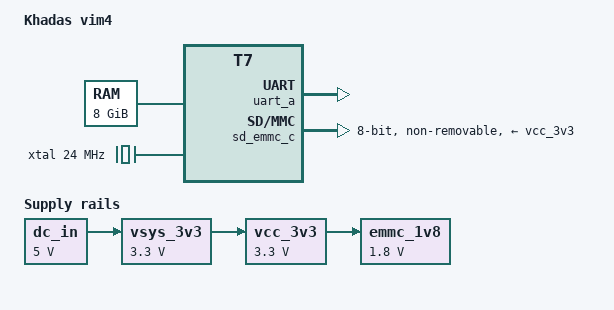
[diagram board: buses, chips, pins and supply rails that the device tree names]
// SPDX-License-Identifier: (GPL-2.0+ OR MIT)
/*
 * Copyright (c) 2022 Wesion, Inc. All rights reserved.
 */

/dts-v1/;

#include "amlogic-t7.dtsi"

/ {
	model = "Khadas vim4";
	compatible = "khadas,vim4", "amlogic,a311d2", "amlogic,t7";

	aliases {
		serial0 = &uart_a;
	};

	chosen {
		stdout-path = "serial0:921600n8";
	};

	memory@0 {
		device_type = "memory";
		reg = <0x0 0x0 0x2 0x0>; /* 8 GB */
	};

	reserved-memory {
		#address-cells = <2>;
		#size-cells = <2>;
		ranges;

		/* 3 MiB reserved for ARM Trusted Firmware (BL31) */
		secmon_reserved: secmon@5000000 {
			reg = <0x0 0x05000000 0x0 0x300000>;
			no-map;
		};

		/* 32 MiB reserved for ARM Trusted Firmware (BL32) */
		secmon_reserved_bl32: secmon@5300000 {
			reg = <0x0 0x05300000 0x0 0x2000000>;
			no-map;
		};
	};

	xtal: xtal-clk {
		compatible = "fixed-clock";
		clock-frequency = <24000000>;
		clock-output-names = "xtal";
		#clock-cells = <0>;
	};

	dc_in: regulator-dc-in {
		compatible = "regulator-fixed";
		regulator-name = "DC_IN";
		regulator-min-microvolt = <5000000>;
		regulator-max-microvolt = <5000000>;
		regulator-always-on;
	};

	vsys_3v3: regulator-vsys-3v3 {
		compatible = "regulator-fixed";
		regulator-name = "VSYS_3V3";
		regulator-min-microvolt = <3300000>;
		regulator-max-microvolt = <3300000>;
		vin-supply = <&dc_in>;
		regulator-always-on;
	};

	vcc_3v3: regulator-vcc-3v3 {
		compatible = "regulator-fixed";
		regulator-name = "VCC_3V3";
		regulator-min-microvolt = <3300000>;
		regulator-max-microvolt = <3300000>;
		vin-supply = <&vsys_3v3>;
		regulator-always-on;
		/* FIXME: actually controlled by VDDCPU_B_EN */
	};

	emmc_1v8: regulator-emmc-1v8 {
		compatible = "regulator-fixed";
		regulator-name = "EMMC_AO1V8";
		regulator-min-microvolt = <1800000>;
		regulator-max-microvolt = <1800000>;
		vin-supply = <&vcc_3v3>;
		regulator-always-on;
	};

};

&uart_a {
	status = "okay";
	clocks = <&xtal>, <&xtal>, <&xtal>;
	clock-names = "xtal", "pclk", "baud";
};

/* eMMC */
&sd_emmc_c {
	status = "okay";
	pinctrl-0 = <&emmc_ctrl_pins>, <&emmc_data_8b_pins>, <&emmc_ds_pins>;
	pinctrl-1 = <&emmc_clk_gate_pins>;
	pinctrl-names = "default", "clk-gate";

	bus-width = <8>;
	cap-mmc-highspeed;
	mmc-ddr-1_8v;
	mmc-hs200-1_8v;
	mmc-hs400-1_8v;
	max-frequency = <200000000>;
	disable-wp;
	non-removable;

	power-domains = <&pwrc PWRC_T7_EMMC_ID>;

	vmmc-supply = <&vcc_3v3>;
	vqmmc-supply = <&emmc_1v8>;
};
